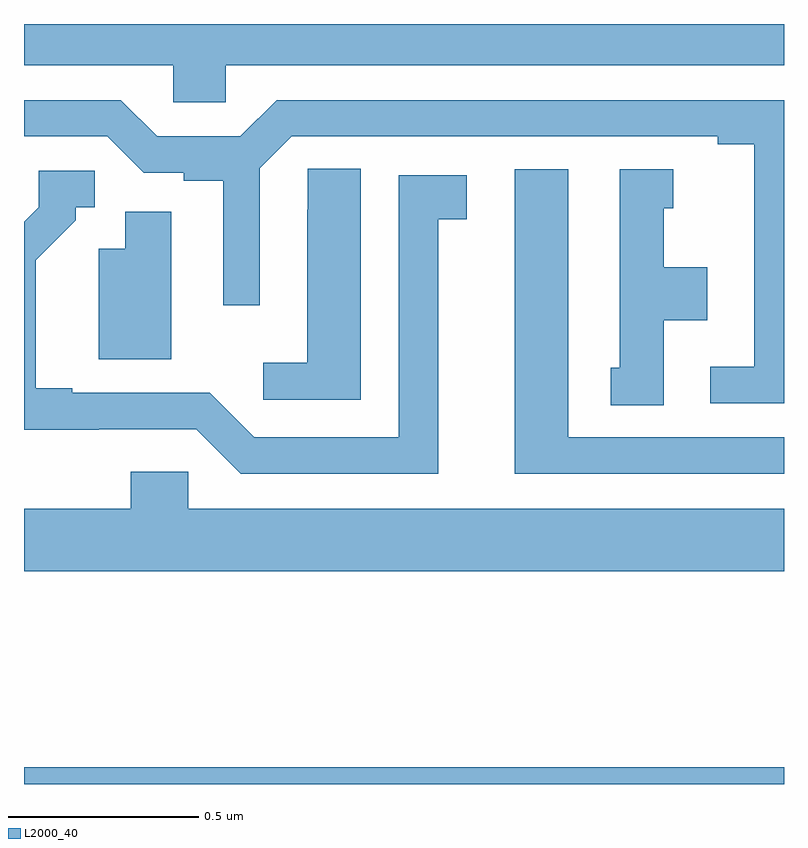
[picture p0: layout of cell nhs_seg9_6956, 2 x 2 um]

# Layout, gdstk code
import gdstk
lib = gdstk.Library(unit=1e-6, precision=1e-09)
def R(c, l, rs):  # rectangles x0, y0, x1, y1
    for r in rs: c.add(gdstk.rectangle(r[:2], r[2:], *l))
def P(c, l, *ps):  # polygons
    for p in ps: c.add(gdstk.Polygon(p, *l))
L2000_40 = (2000, 40)

nhs_seg9_6956 = lib.new_cell('nhs_seg9_6956')
R(nhs_seg9_6956, L2000_40, [(198,1222.5,200,1222.544)])
P(nhs_seg9_6956, L2000_40, [(198.531,1224.392),(200,1224.392),(200,1224.5),(198,1224.5),(198,1224.392),(198.393,1224.392),(198.393,1224.294),(198.531,1224.294)],
  [(200,1224.3),(198.665,1224.3),(198.569,1224.204),(198.351,1224.204),(198.255,1224.3),(198,1224.3),(198,1224.204),(198.219,1224.204),(198.315,1224.108),(198.42,1224.108),(198.42,1224.088),(198.524,1224.088),(198.524,1223.76),(198.621,1223.76),(198.621,1224.12),(198.705,1224.204),(199.826,1224.204),(199.826,1224.184),(199.922,1224.184),(199.922,1223.598),(199.806,1223.598),(199.806,1223.502),(200,1223.502)],
  [(198.886,1224.119),(198.747,1224.119),(198.747,1224.011),(198.746,1224.011),(198.746,1223.608),(198.63,1223.608),(198.63,1223.511),(198.886,1223.511)],
  [(200,1223.412),(199.432,1223.412),(199.432,1224.118),(199.292,1224.118),(199.292,1223.316),(200,1223.316)],
  [(199.684,1223.72),(199.798,1223.72),(199.798,1223.86),(199.684,1223.86),(199.684,1224.015),(199.708,1224.015),(199.708,1224.118),(199.568,1224.118),(199.568,1223.595),(199.544,1223.595),(199.544,1223.497),(199.684,1223.497)],
  [(199.09,1223.986),(199.165,1223.986),(199.165,1224.102),(198.986,1224.102),(198.986,1223.412),(198.606,1223.412),(198.489,1223.529),(198.127,1223.529),(198.127,1223.542),(198.031,1223.542),(198.031,1223.878),(198.136,1223.983),(198.136,1224.018),(198.186,1224.018),(198.186,1224.114),(198.039,1224.114),(198.039,1224.018),(198,1223.979),(198,1223.432),(198.197,1223.432),(198.197,1223.433),(198.453,1223.433),(198.57,1223.316),(199.09,1223.316)],
  [(198.388,1224.006),(198.266,1224.006),(198.266,1223.908),(198.197,1223.908),(198.197,1223.618),(198.388,1223.618)],
  [(200,1223.224),(198.432,1223.224),(198.432,1223.322),(198.281,1223.322),(198.281,1223.224),(198,1223.224),(198,1223.06),(200,1223.06)])

lib.write_gds('nhs_seg9_6956.gds')
